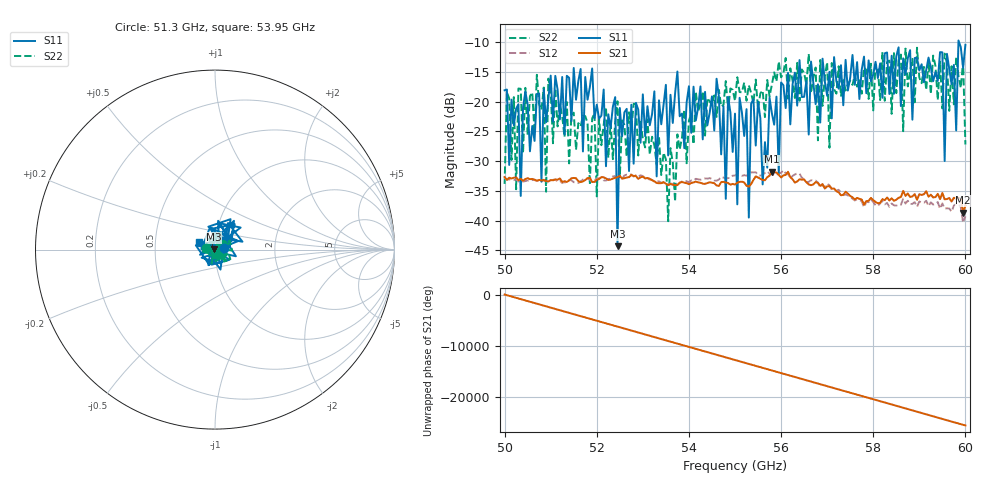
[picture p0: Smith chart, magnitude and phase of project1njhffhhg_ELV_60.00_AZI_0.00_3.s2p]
! 11/24/2026 10:03:04 AM
! C:\ANRITSUVNA\TEMP\TEMP.S2P
! CHANNEL.1
! TR.MEASUREMENT
! RAW.DATA
# HZ S RI R 50.0
! FREQ.HZ  S11RE  S11IM  S21RE  S21IM  S12RE  S12IM  S22RE  S22IM
!; PortSelection: Port_12
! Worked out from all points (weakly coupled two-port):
!   201 points, 50 GHz to 60 GHz, reference 50 ohm
!   highest |S21| = -31.77 dB at 55.8 GHz (marker M1); lowest = -38.6 dB at 59.95 GHz (marker M2)
!   lowest |S11| = -44.3 dB at 52.45 GHz (marker M3), VSWR 1.01, Z = 49.4 + j0.0807 ohm
!   |S11| at or under -10 dB: start of sweep to 59.85 GHz; 59.86359 GHz to end of sweep
!   |S22| runs from -40.1 to -10.9 dB; largest |S21 - S12| = 0.04
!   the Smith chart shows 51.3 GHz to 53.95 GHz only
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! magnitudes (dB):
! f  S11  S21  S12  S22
! 50 GHz  -18.1  -32.7  -32.7  -33.8
! 50.35 GHz  -35.8  -33.0  -33.1  -17.8
! 50.45 GHz  -18.3  -33.0  -33.3  -17.7
! 50.8 GHz  -33.5  -33.2  -33.4  -21.4
! 50.85 GHz  -17.9  -33.1  -33.3  -17.6
! 50.9 GHz  -23.5  -33.4  -33.4  -35.1
! 50.95 GHz  -19.6  -33.4  -33.3  -16.1
! 51.7 GHz  -28.4  -33.4  -33.1  -22.4
! 52.4 GHz  -19.2  -32.8  -32.5  -23.4
! 52.45 GHz  -44.3  -32.7  -32.9  -19.9
! 52.5 GHz  -21.1  -32.5  -32.9  -32.7
! 53.35 GHz  -19.8  -33.7  -33.4  -25.9
! 55 GHz  -22.0  -33.9  -32.4  -19.8
! 55.05 GHz  -37.3  -33.6  -32.3  -15.9
! 55.25 GHz  -21.2  -34.1  -32.5  -19.8
! 55.3 GHz  -39.5  -34.3  -32.2  -17.2
! 55.35 GHz  -20.3  -33.8  -31.9  -18.5
! 55.8 GHz  -21.9  -31.8  -32.1  -17.1
! 56.7 GHz  -16.8  -33.9  -33.3  -16.0
! 58.35 GHz  -18.7  -36.6  -37.7  -13.1
! 59.95 GHz  -14.3  -38.6  -40.4  -13.2
! 60 GHz  -10.4  -37.5  -39.3  -27.2
